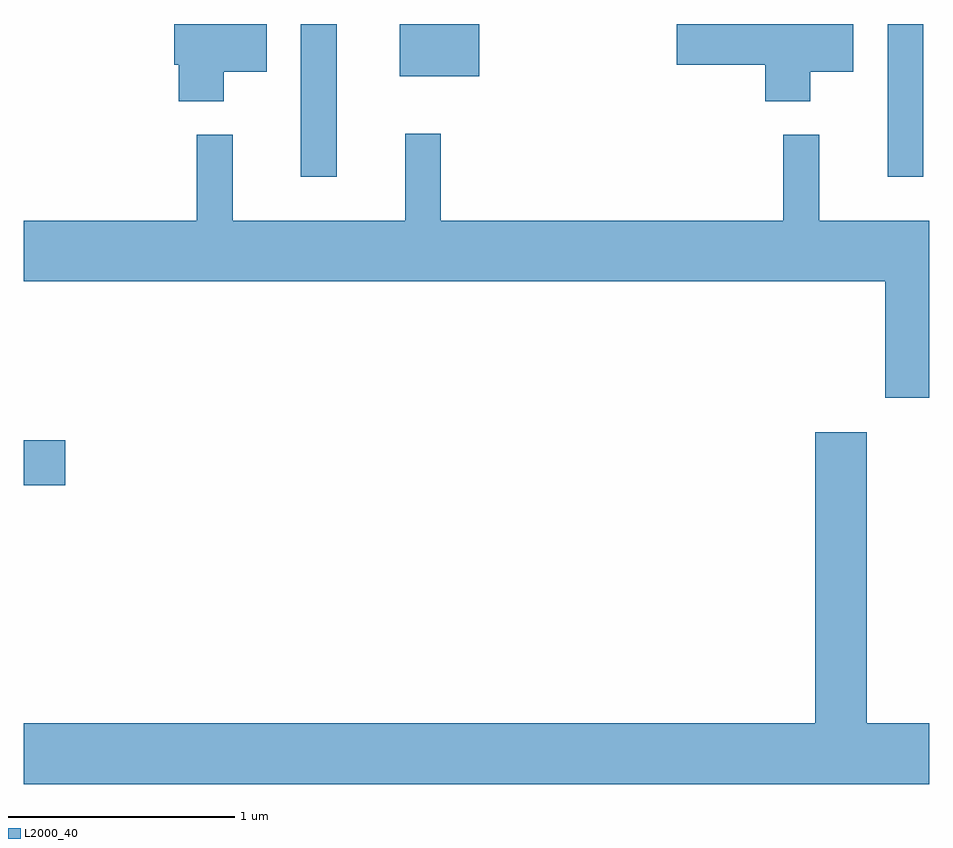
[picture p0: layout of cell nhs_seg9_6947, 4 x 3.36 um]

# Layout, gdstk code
import gdstk
lib = gdstk.Library(unit=1e-6, precision=1e-09)
def R(c, l, rs):  # rectangles x0, y0, x1, y1
    for r in rs: c.add(gdstk.rectangle(r[:2], r[2:], *l))
def P(c, l, *ps):  # polygons
    for p in ps: c.add(gdstk.Polygon(p, *l))
L2000_40 = (2000, 40)

nhs_seg9_6947 = lib.new_cell('nhs_seg9_6947')
R(nhs_seg9_6947, L2000_40, [(389.611,2066.396,389.794,2066.594), (390.836,2067.758,390.994,2068.432), (393.426,2067.758,393.584,2068.432), (391.271,2068.201,391.624,2068.432)])
P(nhs_seg9_6947, L2000_40, [(390.494,2068.221),(390.684,2068.221),(390.684,2068.432),(390.276,2068.432),(390.276,2068.251),(390.296,2068.251),(390.296,2068.091),(390.494,2068.091)],
  [(393.084,2068.221),(393.274,2068.221),(393.274,2068.432),(392.496,2068.432),(392.496,2068.251),(392.886,2068.251),(392.886,2068.091),(393.084,2068.091)],
  [(393.611,2067.564),(393.124,2067.564),(393.124,2067.943),(392.966,2067.943),(392.966,2067.564),(391.454,2067.564),(391.454,2067.948),(391.296,2067.948),(391.296,2067.564),(390.534,2067.564),(390.534,2067.943),(390.376,2067.943),(390.376,2067.564),(389.611,2067.564),(389.611,2067.296),(393.416,2067.296),(393.416,2066.781),(393.611,2066.781)],
  [(393.611,2065.344),(393.334,2065.344),(393.334,2066.629),(393.106,2066.629),(393.106,2065.344),(389.611,2065.344),(389.611,2065.076),(393.611,2065.076)])

lib.write_gds('nhs_seg9_6947.gds')
